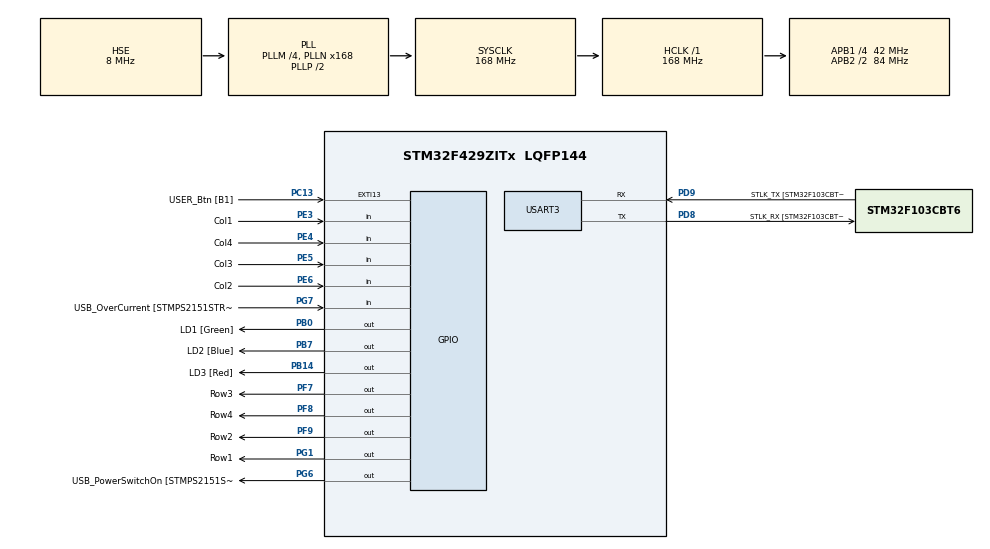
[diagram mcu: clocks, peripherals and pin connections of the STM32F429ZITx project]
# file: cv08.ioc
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Mcu.Family=STM32F4
Mcu.Name=STM32F429ZITx
Mcu.Package=LQFP144
NVIC.PriorityGroup=NVIC_PRIORITYGROUP_4
NVIC.TIM3_IRQn=true\:0\:0\:false\:false\:true\:true\:true\:true
NVIC.TIM4_IRQn=true\:0\:0\:false\:false\:true\:true\:true\:true
PA1.GPIO_Label=RMII_REF_CLK [LAN8742A-CZ-TR_REFCLK0]
PA1.Signal=ETH_REF_CLK
PA10.GPIO_Label=USB_ID
PA10.Signal=USB_OTG_FS_ID
PA11.GPIO_Label=USB_DM
PA11.Signal=USB_OTG_FS_DM
PA12.GPIO_Label=USB_DP
PA12.Signal=USB_OTG_FS_DP
PA13.GPIO_Label=TMS
PA13.Mode=Serial_Wire
PA13.Signal=SYS_JTMS-SWDIO
PA14.GPIO_Label=TCK
PA14.Mode=Serial_Wire
PA14.Signal=SYS_JTCK-SWCLK
PA2.GPIO_Label=RMII_MDIO [LAN8742A-CZ-TR_MDIO]
PA2.Signal=ETH_MDIO
PA7.GPIO_Label=RMII_CRS_DV [LAN8742A-CZ-TR_CRS_DV]
PA7.Signal=ETH_CRS_DV
PA8.GPIO_Label=USB_SOF [TP1]
PA8.Signal=USB_OTG_FS_SOF
PA9.GPIO_Label=USB_VBUS
PA9.Signal=USB_OTG_FS_VBUS
PB0.GPIO_Label=LD1 [Green]
PB0.Signal=GPIO_Output
PB13.GPIO_Label=RMII_TXD1 [LAN8742A-CZ-TR_TXD1]
PB13.Signal=ETH_TXD1
PB14.GPIO_Label=LD3 [Red]
PB14.Signal=GPIO_Output
PB7.GPIO_Label=LD2 [Blue]
PB7.Signal=GPIO_Output
PC1.GPIO_Label=RMII_MDC [LAN8742A-CZ-TR_MDC]
PC1.Signal=ETH_MDC
PC13.GPIO_Label=USER_Btn [B1]
PC13.Signal=GPXTI13
PC14/OSC32_IN.Mode=LSE-External-Oscillator
PC14/OSC32_IN.Signal=RCC_OSC32_IN
PC15/OSC32_OUT.Mode=LSE-External-Oscillator
PC15/OSC32_OUT.Signal=RCC_OSC32_OUT
PC4.GPIO_Label=RMII_RXD0 [LAN8742A-CZ-TR_RXD0]
PC4.Signal=ETH_RXD0
PC5.GPIO_Label=RMII_RXD1 [LAN8742A-CZ-TR_RXD1]
PC5.Signal=ETH_RXD1
PD8.GPIO_Label=STLK_RX [STM32F103CBT6_PA3]
PD8.Mode=Asynchronous
PD8.Signal=USART3_TX
PD9.GPIO_Label=STLK_TX [STM32F103CBT6_PA2]
PD9.Mode=Asynchronous
PD9.Signal=USART3_RX
PE3.GPIO_Label=Col1
PE3.GPIO_PuPd=GPIO_PULLUP
PE3.Signal=GPIO_Input
PE4.GPIO_Label=Col4
PE4.GPIO_PuPd=GPIO_PULLUP
PE4.Signal=GPIO_Input
PE5.GPIO_Label=Col3
PE5.GPIO_PuPd=GPIO_PULLUP
PE5.Signal=GPIO_Input
PE6.GPIO_Label=Col2
PE6.GPIO_PuPd=GPIO_PULLUP
PE6.Signal=GPIO_Input
PF7.GPIO_Label=Row3
PF7.GPIO_ModeDefaultOutputPP=GPIO_MODE_OUTPUT_OD
PF7.GPIO_PuPd=GPIO_NOPULL
PF7.Signal=GPIO_Output
PF8.GPIO_Label=Row4
PF8.GPIO_ModeDefaultOutputPP=GPIO_MODE_OUTPUT_OD
PF8.GPIO_PuPd=GPIO_NOPULL
PF8.Signal=GPIO_Output
PF9.GPIO_Label=Row2
PF9.GPIO_ModeDefaultOutputPP=GPIO_MODE_OUTPUT_OD
PF9.GPIO_PuPd=GPIO_NOPULL
PF9.Signal=GPIO_Output
PG1.GPIO_Label=Row1
PG1.GPIO_ModeDefaultOutputPP=GPIO_MODE_OUTPUT_OD
PG1.GPIO_PuPd=GPIO_NOPULL
PG1.Signal=GPIO_Output
PG11.GPIO_Label=RMII_TX_EN [LAN8742A-CZ-TR_TXEN]
PG11.Signal=ETH_TX_EN
PG13.GPIO_Label=RMII_TXD0 [LAN8742A-CZ-TR_TXD0]
PG13.Signal=ETH_TXD0
PG6.GPIO_Label=USB_PowerSwitchOn [STMPS2151STR_EN]
PG6.Signal=GPIO_Output
PG7.GPIO_Label=USB_OverCurrent [STMPS2151STR_FAULT]
PG7.Signal=GPIO_Input
PH0/OSC_IN.GPIO_Label=MCO [STM32F103CBT6_PA8]
PH0/OSC_IN.Mode=HSE-External-Clock-Source
PH0/OSC_IN.Signal=RCC_OSC_IN
PH1/OSC_OUT.Mode=HSE-External-Clock-Source
PH1/OSC_OUT.Signal=RCC_OSC_OUT
ProjectManager.HeapSize=0x200
ProjectManager.StackSize=0x400
ProjectManager.TargetToolchain=STM32CubeIDE
RCC.48MHZClocksFreq_Value=48000000
RCC.AHBFreq_Value=168000000
RCC.APB1CLKDivider=RCC_HCLK_DIV4
RCC.APB1Freq_Value=42000000
RCC.APB1TimFreq_Value=84000000
RCC.APB2CLKDivider=RCC_HCLK_DIV2
RCC.APB2Freq_Value=84000000
RCC.APB2TimCLKDivider=2
RCC.APB2TimFreq_Value=168000000
RCC.CortexFreq_Value=168000000
RCC.HCLKFreq_Value=168000000
RCC.HSE_VALUE=8000000
RCC.HSI_VALUE=16000000
RCC.PLLM=4
RCC.PLLMUL=RCC_PLL_MUL9
RCC.PLLN=168
RCC.PLLQ=7
RCC.PLLSourceVirtual=RCC_PLLSOURCE_HSE
RCC.PRESCALERUSB=RCC_USBCLKSOURCE_PLL_DIV1_5
RCC.SYSCLKFreq_VALUE=168000000
RCC.SYSCLKSource=RCC_SYSCLKSOURCE_PLLCLK
RCC.SYSCLKSourceVirtual=RCC_SYSCLKSOURCE_PLLCLK
RCC.USBFreq_Value=48000000
RCC.VCOOutputFreq_Value=336000000
TIM3.AutoReloadPreload=TIM_AUTORELOAD_PRELOAD_ENABLE
TIM3.Period=199
TIM3.Prescaler=8399
TIM4.AutoReloadPreload=TIM_AUTORELOAD_PRELOAD_ENABLE
TIM4.Period=199
TIM4.Prescaler=8400
USART3.VirtualMode=VM_ASYNC
VP_TIM3_VS_ClockSourceINT.Mode=Internal
VP_TIM4_VS_ClockSourceINT.Mode=Internal
board=NUCLEO-F429ZI

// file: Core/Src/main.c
/* USER CODE BEGIN Header */
/**
 ******************************************************************************
 * @file           : main.c
 * @brief          : Main program body
 ******************************************************************************
 * @attention
 *
 * Copyright (c) 2024 STMicroelectronics.
 * All rights reserved.
 *
 * This software is licensed under terms that can be found in the LICENSE file
 * in the root directory of this software component.
 * If no LICENSE file comes with this software, it is provided AS-IS.
 *
 ******************************************************************************
 */
/* USER CODE END Header */
#include "main.h"

/* USER CODE BEGIN Includes */
#include <stdio.h>

/* USER CODE END Includes */

TIM_HandleTypeDef htim3;
TIM_HandleTypeDef htim4;

UART_HandleTypeDef huart3;

/* USER CODE BEGIN PV */
static volatile char key;

/* USER CODE END PV */

void SystemClock_Config(void);
static void MX_GPIO_Init(void);
static void MX_USART3_UART_Init(void);
static void MX_TIM3_Init(void);
static void MX_TIM4_Init(void);

/* USER CODE BEGIN 0 */

int __io_putchar(int ch)
{
	ITM_SendChar(ch);
	return 0;
}

/* USER CODE END 0 */

int main(void)
{

  /* MCU Configuration--------------------------------------------------------*/

  /* Reset of all peripherals, Initializes the Flash interface and the Systick. */
  HAL_Init();

  /* Configure the system clock */
  SystemClock_Config();

  /* Initialize all configured peripherals */
  MX_GPIO_Init();
  MX_USART3_UART_Init();
  MX_TIM3_Init();
  MX_TIM4_Init();
  /* USER CODE BEGIN 2 */

	HAL_TIM_Base_Start_IT(&htim3);

	static const char lock[] =
	{ '7', '9', '3', '2', '#' };

	static const char *lock_p = 0;
	lock_p = &lock[0];

	static uint32_t cTime;

  /* USER CODE END 2 */

  /* Infinite loop */
  /* USER CODE BEGIN WHILE */
	while (1)
	{
		/*HAL_GPIO_TogglePin(LD1_GPIO_Port, LD1_Pin);
		 printf("ZEC\n");
		 HAL_Delay(250);*/

		static uint32_t passBlinkTime = 0;

		if (key != 0)
		{
			HAL_Delay(400);
			printf("pressed '%c'\n", key);
			printf("pass '%c'\n", *lock_p);

			if (key == *lock_p)
			{
				printf("Correct symbol\n");
				if (lock_p == &lock[4])
				{
					passBlinkTime = HAL_GetTick();
					HAL_TIM_Base_Start_IT(&htim4);
					printf("Correct password\n");
					lock_p = &lock[0];
				}
				else
				{
					lock_p++;
				}
			}
			else
			{
				printf("Wrong symbol\n");
				lock_p = &lock[0];
			}
			key = 0;
			cTime = HAL_GetTick();
		}

		if ((HAL_GetTick() > cTime + 4000) && lock_p != &lock[0])
		{
			printf("Timeout!\n");
			lock_p = &lock[0];
		}

		if ((HAL_GetTick() > passBlinkTime + 1000) && passBlinkTime != 0)
		{
			HAL_TIM_Base_Stop_IT(&htim4);
			HAL_GPIO_WritePin(LD1_GPIO_Port, LD1_Pin, GPIO_PIN_RESET);
		}

    /* USER CODE END WHILE */

	}
}

void SystemClock_Config(void)
{
  RCC_OscInitTypeDef RCC_OscInitStruct = {0};
  RCC_ClkInitTypeDef RCC_ClkInitStruct = {0};

  /** Configure the main internal regulator output voltage
  */
  __HAL_RCC_PWR_CLK_ENABLE();
  __HAL_PWR_VOLTAGESCALING_CONFIG(PWR_REGULATOR_VOLTAGE_SCALE1);

  /** Initializes the RCC Oscillators according to the specified parameters
  * in the RCC_OscInitTypeDef structure.
  */
  RCC_OscInitStruct.OscillatorType = RCC_OSCILLATORTYPE_HSE;
  RCC_OscInitStruct.HSEState = RCC_HSE_BYPASS;
  RCC_OscInitStruct.PLL.PLLState = RCC_PLL_ON;
  RCC_OscInitStruct.PLL.PLLSource = RCC_PLLSOURCE_HSE;
  RCC_OscInitStruct.PLL.PLLM = 4;
  RCC_OscInitStruct.PLL.PLLN = 168;
  RCC_OscInitStruct.PLL.PLLP = RCC_PLLP_DIV2;
  RCC_OscInitStruct.PLL.PLLQ = 7;
  if (HAL_RCC_OscConfig(&RCC_OscInitStruct) != HAL_OK)
  {
    Error_Handler();
  }

  /** Initializes the CPU, AHB and APB buses clocks
  */
  RCC_ClkInitStruct.ClockType = RCC_CLOCKTYPE_HCLK|RCC_CLOCKTYPE_SYSCLK
                              |RCC_CLOCKTYPE_PCLK1|RCC_CLOCKTYPE_PCLK2;
  RCC_ClkInitStruct.SYSCLKSource = RCC_SYSCLKSOURCE_PLLCLK;
  RCC_ClkInitStruct.AHBCLKDivider = RCC_SYSCLK_DIV1;
  RCC_ClkInitStruct.APB1CLKDivider = RCC_HCLK_DIV4;
  RCC_ClkInitStruct.APB2CLKDivider = RCC_HCLK_DIV2;

  if (HAL_RCC_ClockConfig(&RCC_ClkInitStruct, FLASH_LATENCY_5) != HAL_OK)
  {
    Error_Handler();
  }
}

static void MX_TIM3_Init(void)
{

  TIM_ClockConfigTypeDef sClockSourceConfig = {0};
  TIM_MasterConfigTypeDef sMasterConfig = {0};

  htim3.Instance = TIM3;
  htim3.Init.Prescaler = 8399;
  htim3.Init.CounterMode = TIM_COUNTERMODE_UP;
  htim3.Init.Period = 199;
  htim3.Init.ClockDivision = TIM_CLOCKDIVISION_DIV1;
  htim3.Init.AutoReloadPreload = TIM_AUTORELOAD_PRELOAD_ENABLE;
  if (HAL_TIM_Base_Init(&htim3) != HAL_OK)
  {
    Error_Handler();
  }
  sClockSourceConfig.ClockSource = TIM_CLOCKSOURCE_INTERNAL;
  if (HAL_TIM_ConfigClockSource(&htim3, &sClockSourceConfig) != HAL_OK)
  {
    Error_Handler();
  }
  sMasterConfig.MasterOutputTrigger = TIM_TRGO_RESET;
  sMasterConfig.MasterSlaveMode = TIM_MASTERSLAVEMODE_DISABLE;
  if (HAL_TIMEx_MasterConfigSynchronization(&htim3, &sMasterConfig) != HAL_OK)
  {
    Error_Handler();
  }

}

static void MX_TIM4_Init(void)
{

  TIM_ClockConfigTypeDef sClockSourceConfig = {0};
  TIM_MasterConfigTypeDef sMasterConfig = {0};

  htim4.Instance = TIM4;
  htim4.Init.Prescaler = 8400;
  htim4.Init.CounterMode = TIM_COUNTERMODE_UP;
  htim4.Init.Period = 199;
  htim4.Init.ClockDivision = TIM_CLOCKDIVISION_DIV1;
  htim4.Init.AutoReloadPreload = TIM_AUTORELOAD_PRELOAD_ENABLE;
  if (HAL_TIM_Base_Init(&htim4) != HAL_OK)
  {
    Error_Handler();
  }
  sClockSourceConfig.ClockSource = TIM_CLOCKSOURCE_INTERNAL;
  if (HAL_TIM_ConfigClockSource(&htim4, &sClockSourceConfig) != HAL_OK)
  {
    Error_Handler();
  }
  sMasterConfig.MasterOutputTrigger = TIM_TRGO_RESET;
  sMasterConfig.MasterSlaveMode = TIM_MASTERSLAVEMODE_DISABLE;
  if (HAL_TIMEx_MasterConfigSynchronization(&htim4, &sMasterConfig) != HAL_OK)
  {
    Error_Handler();
  }

}

static void MX_USART3_UART_Init(void)
{

  huart3.Instance = USART3;
  huart3.Init.BaudRate = 115200;
  huart3.Init.WordLength = UART_WORDLENGTH_8B;
  huart3.Init.StopBits = UART_STOPBITS_1;
  huart3.Init.Parity = UART_PARITY_NONE;
  huart3.Init.Mode = UART_MODE_TX_RX;
  huart3.Init.HwFlowCtl = UART_HWCONTROL_NONE;
  huart3.Init.OverSampling = UART_OVERSAMPLING_16;
  if (HAL_UART_Init(&huart3) != HAL_OK)
  {
    Error_Handler();
  }

}

static void MX_GPIO_Init(void)
{
  GPIO_InitTypeDef GPIO_InitStruct = {0};

  /* GPIO Ports Clock Enable */
  __HAL_RCC_GPIOE_CLK_ENABLE();
  __HAL_RCC_GPIOC_CLK_ENABLE();
  __HAL_RCC_GPIOF_CLK_ENABLE();
  __HAL_RCC_GPIOH_CLK_ENABLE();
  __HAL_RCC_GPIOA_CLK_ENABLE();
  __HAL_RCC_GPIOB_CLK_ENABLE();
  __HAL_RCC_GPIOG_CLK_ENABLE();
  __HAL_RCC_GPIOD_CLK_ENABLE();

  /*Configure GPIO pin Output Level */
  HAL_GPIO_WritePin(GPIOF, Row3_Pin|Row4_Pin|Row2_Pin, GPIO_PIN_RESET);

  /*Configure GPIO pin Output Level */
  HAL_GPIO_WritePin(GPIOB, LD1_Pin|LD3_Pin|LD2_Pin, GPIO_PIN_RESET);

  /*Configure GPIO pin Output Level */
  HAL_GPIO_WritePin(GPIOG, Row1_Pin|USB_PowerSwitchOn_Pin, GPIO_PIN_RESET);

  /*Configure GPIO pins : Col1_Pin Col4_Pin Col3_Pin Col2_Pin */
  GPIO_InitStruct.Pin = Col1_Pin|Col4_Pin|Col3_Pin|Col2_Pin;
  GPIO_InitStruct.Mode = GPIO_MODE_INPUT;
  GPIO_InitStruct.Pull = GPIO_PULLUP;
  HAL_GPIO_Init(GPIOE, &GPIO_InitStruct);

  /*Configure GPIO pin : USER_Btn_Pin */
  GPIO_InitStruct.Pin = USER_Btn_Pin;
  GPIO_InitStruct.Mode = GPIO_MODE_IT_RISING;
  GPIO_InitStruct.Pull = GPIO_NOPULL;
  HAL_GPIO_Init(USER_Btn_GPIO_Port, &GPIO_InitStruct);

  /*Configure GPIO pins : Row3_Pin Row4_Pin Row2_Pin */
  GPIO_InitStruct.Pin = Row3_Pin|Row4_Pin|Row2_Pin;
  GPIO_InitStruct.Mode = GPIO_MODE_OUTPUT_OD;
  GPIO_InitStruct.Pull = GPIO_NOPULL;
  GPIO_InitStruct.Speed = GPIO_SPEED_FREQ_LOW;
  HAL_GPIO_Init(GPIOF, &GPIO_InitStruct);

  /*Configure GPIO pins : RMII_MDC_Pin RMII_RXD0_Pin RMII_RXD1_Pin */
  GPIO_InitStruct.Pin = RMII_MDC_Pin|RMII_RXD0_Pin|RMII_RXD1_Pin;
  GPIO_InitStruct.Mode = GPIO_MODE_AF_PP;
  GPIO_InitStruct.Pull = GPIO_NOPULL;
  GPIO_InitStruct.Speed = GPIO_SPEED_FREQ_VERY_HIGH;
  GPIO_InitStruct.Alternate = GPIO_AF11_ETH;
  HAL_GPIO_Init(GPIOC, &GPIO_InitStruct);

  /*Configure GPIO pins : RMII_REF_CLK_Pin RMII_MDIO_Pin RMII_CRS_DV_Pin */
  GPIO_InitStruct.Pin = RMII_REF_CLK_Pin|RMII_MDIO_Pin|RMII_CRS_DV_Pin;
  GPIO_InitStruct.Mode = GPIO_MODE_AF_PP;
  GPIO_InitStruct.Pull = GPIO_NOPULL;
  GPIO_InitStruct.Speed = GPIO_SPEED_FREQ_VERY_HIGH;
  GPIO_InitStruct.Alternate = GPIO_AF11_ETH;
  HAL_GPIO_Init(GPIOA, &GPIO_InitStruct);

  /*Configure GPIO pins : LD1_Pin LD3_Pin LD2_Pin */
  GPIO_InitStruct.Pin = LD1_Pin|LD3_Pin|LD2_Pin;
  GPIO_InitStruct.Mode = GPIO_MODE_OUTPUT_PP;
  GPIO_InitStruct.Pull = GPIO_NOPULL;
  GPIO_InitStruct.Speed = GPIO_SPEED_FREQ_LOW;
  HAL_GPIO_Init(GPIOB, &GPIO_InitStruct);

  /*Configure GPIO pin : Row1_Pin */
  GPIO_InitStruct.Pin = Row1_Pin;
  GPIO_InitStruct.Mode = GPIO_MODE_OUTPUT_OD;
  GPIO_InitStruct.Pull = GPIO_NOPULL;
  GPIO_InitStruct.Speed = GPIO_SPEED_FREQ_LOW;
  HAL_GPIO_Init(Row1_GPIO_Port, &GPIO_InitStruct);

  /*Configure GPIO pin : RMII_TXD1_Pin */
  GPIO_InitStruct.Pin = RMII_TXD1_Pin;
  GPIO_InitStruct.Mode = GPIO_MODE_AF_PP;
  GPIO_InitStruct.Pull = GPIO_NOPULL;
  GPIO_InitStruct.Speed = GPIO_SPEED_FREQ_VERY_HIGH;
  GPIO_InitStruct.Alternate = GPIO_AF11_ETH;
  HAL_GPIO_Init(RMII_TXD1_GPIO_Port, &GPIO_InitStruct);

  /*Configure GPIO pin : USB_PowerSwitchOn_Pin */
  GPIO_InitStruct.Pin = USB_PowerSwitchOn_Pin;
  GPIO_InitStruct.Mode = GPIO_MODE_OUTPUT_PP;
  GPIO_InitStruct.Pull = GPIO_NOPULL;
  GPIO_InitStruct.Speed = GPIO_SPEED_FREQ_LOW;
  HAL_GPIO_Init(USB_PowerSwitchOn_GPIO_Port, &GPIO_InitStruct);

  /*Configure GPIO pin : USB_OverCurrent_Pin */
  GPIO_InitStruct.Pin = USB_OverCurrent_Pin;
  GPIO_InitStruct.Mode = GPIO_MODE_INPUT;
  GPIO_InitStruct.Pull = GPIO_NOPULL;
  HAL_GPIO_Init(USB_OverCurrent_GPIO_Port, &GPIO_InitStruct);

  /*Configure GPIO pins : USB_SOF_Pin USB_ID_Pin USB_DM_Pin USB_DP_Pin */
  GPIO_InitStruct.Pin = USB_SOF_Pin|USB_ID_Pin|USB_DM_Pin|USB_DP_Pin;
  GPIO_InitStruct.Mode = GPIO_MODE_AF_PP;
  GPIO_InitStruct.Pull = GPIO_NOPULL;
  GPIO_InitStruct.Speed = GPIO_SPEED_FREQ_VERY_HIGH;
  GPIO_InitStruct.Alternate = GPIO_AF10_OTG_FS;
  HAL_GPIO_Init(GPIOA, &GPIO_InitStruct);

  /*Configure GPIO pin : USB_VBUS_Pin */
  GPIO_InitStruct.Pin = USB_VBUS_Pin;
  GPIO_InitStruct.Mode = GPIO_MODE_INPUT;
  GPIO_InitStruct.Pull = GPIO_NOPULL;
  HAL_GPIO_Init(USB_VBUS_GPIO_Port, &GPIO_InitStruct);

  /*Configure GPIO pins : RMII_TX_EN_Pin RMII_TXD0_Pin */
  GPIO_InitStruct.Pin = RMII_TX_EN_Pin|RMII_TXD0_Pin;
  GPIO_InitStruct.Mode = GPIO_MODE_AF_PP;
  GPIO_InitStruct.Pull = GPIO_NOPULL;
  GPIO_InitStruct.Speed = GPIO_SPEED_FREQ_VERY_HIGH;
  GPIO_InitStruct.Alternate = GPIO_AF11_ETH;
  HAL_GPIO_Init(GPIOG, &GPIO_InitStruct);

}

/* USER CODE BEGIN 4 */
void HAL_TIM_PeriodElapsedCallback(TIM_HandleTypeDef *htim)
{

	static uint8_t row = 0;
	static const char keyboard[4][4] =
	{
	{ '1', '2', '3', 'A' },
	{ '4', '5', '6', 'B' },
	{ '7', '8', '9', 'C' },
	{ '*', '0', '#', 'D' }, };

	if (key == 0)
	{
		if (HAL_GPIO_ReadPin(Col1_GPIO_Port, Col1_Pin) == GPIO_PIN_RESET)
		{
			key = keyboard[row][0];
		}
		if (HAL_GPIO_ReadPin(Col2_GPIO_Port, Col2_Pin) == GPIO_PIN_RESET)
		{
			key = keyboard[row][1];
		}
		if (HAL_GPIO_ReadPin(Col2_GPIO_Port, Col3_Pin) == GPIO_PIN_RESET)
		{
			key = keyboard[row][2];
		}
		if (HAL_GPIO_ReadPin(Col2_GPIO_Port, Col4_Pin) == GPIO_PIN_RESET)
		{
			key = keyboard[row][3];
		}
	}

	HAL_GPIO_WritePin(Row1_GPIO_Port, Row1_Pin, GPIO_PIN_SET);
	HAL_GPIO_WritePin(Row2_GPIO_Port, Row2_Pin, GPIO_PIN_SET);
	HAL_GPIO_WritePin(Row3_GPIO_Port, Row3_Pin, GPIO_PIN_SET);
	HAL_GPIO_WritePin(Row4_GPIO_Port, Row4_Pin, GPIO_PIN_SET);

	switch (row)
	{
	case 0:
		row = 1;
		HAL_GPIO_WritePin(Row2_GPIO_Port, Row2_Pin, GPIO_PIN_RESET);
		break;
	case 1:
		row = 2;
		HAL_GPIO_WritePin(Row3_GPIO_Port, Row3_Pin, GPIO_PIN_RESET);
		break;
	case 2:
		row = 3;
		HAL_GPIO_WritePin(Row4_GPIO_Port, Row4_Pin, GPIO_PIN_RESET);
		break;
	case 3:
		row = 0;
		HAL_GPIO_WritePin(Row1_GPIO_Port, Row1_Pin, GPIO_PIN_RESET);
		break;
	}
}

/* USER CODE END 4 */

void Error_Handler(void)
{
	__disable_irq();
	while (1)
	{
	}
}
